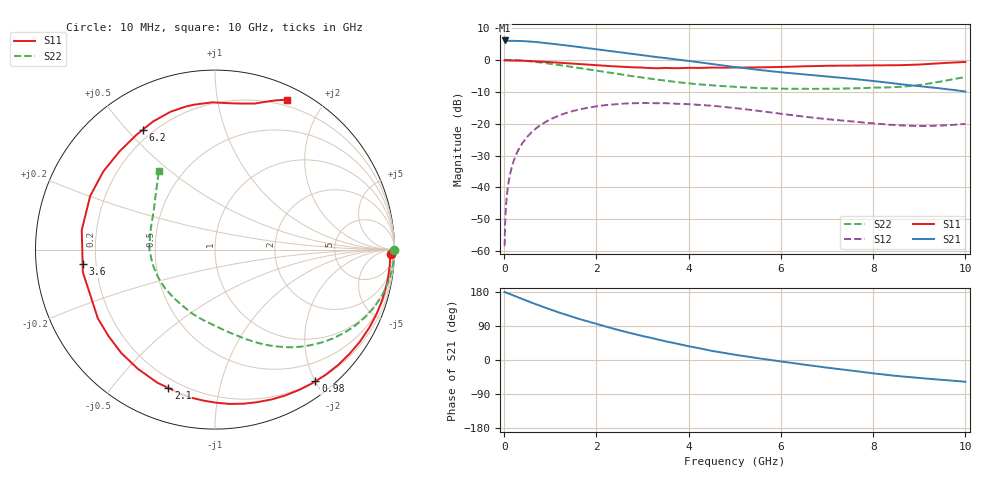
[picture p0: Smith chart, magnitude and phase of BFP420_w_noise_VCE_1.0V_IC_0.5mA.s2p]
! Infineon Technologies  Discrete & RF Semiconductors
! BFP420
! VCE =  1.0 V,  IC =  0.5 mA
! Common Emitter S-Parameters:  Jan 2016
# GHz  S  MA  R  50
!  f  S11  S21  S12  S22
! GHz  MAG  ANG  MAG  ANG  MAG  ANG  MAG  ANG
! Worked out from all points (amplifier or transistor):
!   233 points, 10 MHz to 10 GHz, reference 50 ohm
!   highest |S21| = 6.1 dB at 10 MHz (marker M1)
!   |S21| within 3 dB of that: start of sweep to 2.133 GHz
!   unconditionally stable (mu >= 1): 4.299 GHz to end of sweep
!   at 200 MHz: K = 0.01, MSG = 19.0 dB, |S12| = -32.0 dB
!   at 1.74 GHz: K = 0.32, MSG = 9.5 dB, |S12| = -15.2 dB
!   at 10 GHz: K = 1.55, MAG = 0.7 dB, |S12| = -20.1 dB
!   lowest NFmin = 0.68 dB at 900 MHz
!   S11 on the Smith chart (normalised r, x): 10 MHz: 35, -54; 980 MHz: 0.20, -2.00; 2.1 GHz: 0.15, -0.71; 3.6 GHz: 0.15, -0.05; 6.2 GHz: 0.16, +0.55; 10 GHz: 0.13, +1.58
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0.01  0.9833 -1.5  2.013 179.4  0.0012 84.7  0.9981 -0.2
0.02  0.9795 -1.0  1.963 179.6  0.0026 88.8  0.9978 -0.6
0.03  0.9783 -1.6  1.967 178.9  0.0039 88.0  0.9978 -1.0
0.065  0.9766 -3.5  1.978 176.9  0.0083 87.3  0.9974 -2.2
0.13  0.9774 -7.0  1.987 173.9  0.0164 85.6  0.9954 -4.4
0.22  0.9755 -11.8  1.983 169.5  0.0277 82.3  0.9901 -7.5
0.34  0.9713 -18.3  1.976 163.7  0.0427 78.1  0.9791 -11.5
0.5  0.9634 -26.9  1.949 155.9  0.0621 72.3  0.9584 -16.7
0.7  0.9481 -37.8  1.902 146.5  0.0853 65.0  0.9257 -22.9
0.98  0.9227 -52.7  1.812 134.2  0.1145 55.3  0.8717 -30.7
1.38  0.8834 -73.6  1.672 117.7  0.1495 42.4  0.7916 -40.6
1.68  0.8546 -88.6  1.573 106.4  0.1701 33.4  0.7339 -47.2
2.1  0.8137 -108.6  1.434 91.7  0.1908 21.7  0.6595 -55.3
2.78  0.7647 -140.1  1.24 69.7  0.2088 4.3  0.5552 -67.4
3.4  0.7411 -166.2  1.087 52.2  0.2087 -9.5  0.481 -77.9
3.6  0.7417 -173.9  1.044 46.8  0.2071 -13.4  0.4611 -81.5
4.4  0.7516 159.7  0.881 26.7  0.193 -27.5  0.4034 -97.2
5.1  0.758 142.8  0.756 12.1  0.1728 -37.4  0.374 -111.7
6.2  0.7798 121.0  0.619 -7.1  0.137 -46.4  0.3513 -135.9
6.8  0.7994 111.1  0.565 -16.9  0.1219 -47.9  0.3509 -150.1
8.4  0.8198 84.0  0.431 -40.6  0.0957 -44.2  0.3715 166.3
10  0.9262 64.4  0.318 -57.3  0.0989 -30.9  0.538 125.5
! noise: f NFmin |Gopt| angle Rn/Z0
0.9  0.68  0.78  35  0.65
1.8  1.42  0.6  75  0.5
2.4  1.57  0.58  98  0.37
3  2.1  0.58  128  0.24
4  2.49  0.57  177  0.09
